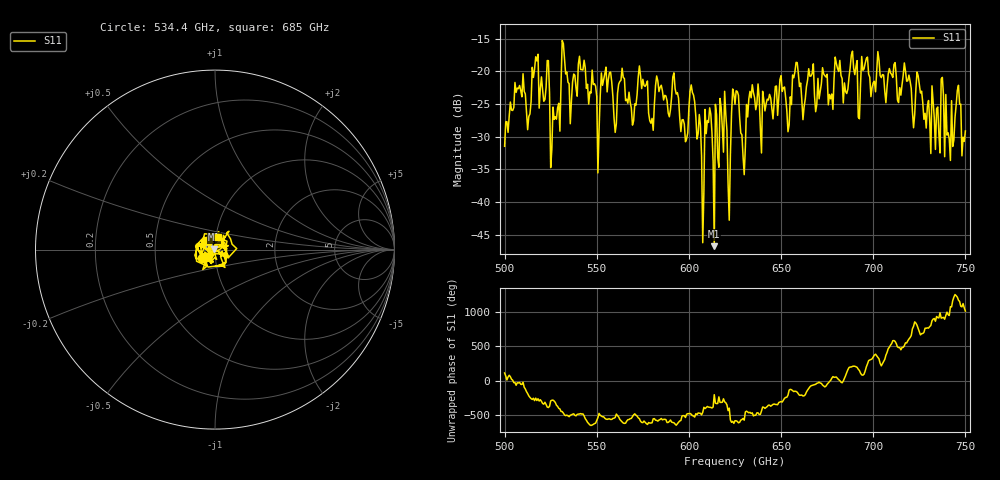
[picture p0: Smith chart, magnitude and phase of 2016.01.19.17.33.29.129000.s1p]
!Created with skrf (http://scikit-rf.org).
# GHz S RI R 50.0
!freq ReS11 ImS11
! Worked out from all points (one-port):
!   401 points, 500 GHz to 750 GHz, reference 50 ohm
!   lowest |S11| = -46.7 dB at 613.8 GHz (marker M1), VSWR 1.01, Z = 49.6 + j0.166 ohm
!   |S11| at or under -10 dB: start of sweep to end of sweep
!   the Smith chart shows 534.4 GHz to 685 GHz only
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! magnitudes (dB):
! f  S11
! 500 GHz  -31.5
! 506.9 GHz  -22.6
! 513.1 GHz  -26.9
! 516.9 GHz  -17.8
! 526.2 GHz  -25.5
! 531.2 GHz  -15.3
! 541.9 GHz  -19.7
! 550.6 GHz  -35.5
! 553.8 GHz  -21.3
! 560 GHz  -29.3
! 562.5 GHz  -21.6
! 579.4 GHz  -27.9
! 583.1 GHz  -21.5
! 593.8 GHz  -23.3
! 598.1 GHz  -30.8
! 601.9 GHz  -23.2
! 606.9 GHz  -33.0
! 610 GHz  -27.5
! 613.8 GHz  -46.7
! 618.1 GHz  -28.6
! 621.9 GHz  -42.8
! 625 GHz  -25.0
! 629.4 GHz  -33.0
! 633.8 GHz  -24.1
! 656.2 GHz  -20.6
! 687.5 GHz  -19.4
! 718.8 GHz  -21.5
! 750 GHz  -29.1
